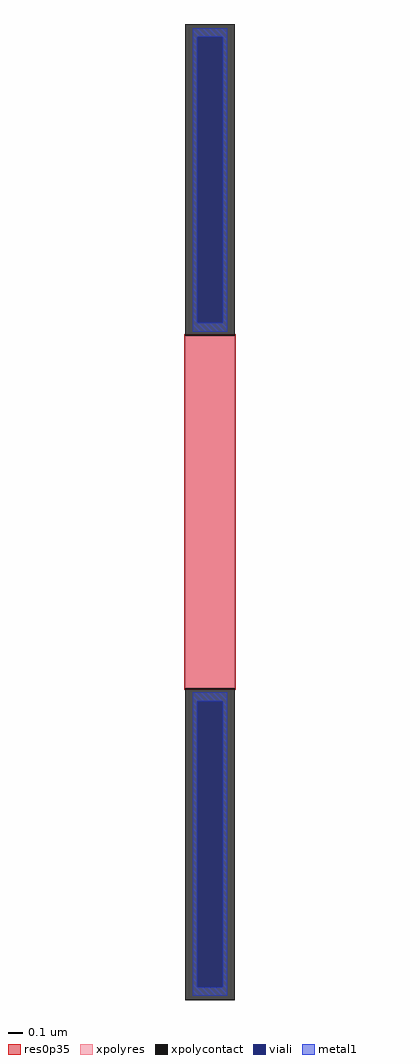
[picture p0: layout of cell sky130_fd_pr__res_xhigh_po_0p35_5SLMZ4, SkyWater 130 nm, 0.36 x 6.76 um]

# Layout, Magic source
magic
tech sky130A
<< xpolycontact >>
rect -17 122 17 338
rect -17 -338 17 -122
<< xpolyres >>
rect -17 -122 17 122
<< viali >>
rect -9 131 9 329
rect -9 -329 9 -131
<< metal1 >>
rect -12 329 12 335
rect -12 131 -9 329
rect 9 131 12 329
rect -12 125 12 131
rect -12 -131 12 -125
rect -12 -329 -9 -131
rect 9 -329 12 -131
rect -12 -335 12 -329
<< res0p35 >>
rect -18 -123 18 123
<< properties >>
string gencell sky130_fd_pr__res_xhigh_po_0p35
string parameters w 0.350 l 2.45 m 1 nx 1 wmin 0.350 lmin 0.50 rho 2000 val 14.109k dummy 0 dw 0.0 term 19.188 sterm 0.0 caplen 0 wmax 0.350 guard 0 glc 1 grc 1 gtc 1 gbc 1 compatible {sky130_fd_pr__res_xhigh_po_0p35  sky130_fd_pr__res_xhigh_po_0p69 sky130_fd_pr__res_xhigh_po_1p41  sky130_fd_pr__res_xhigh_po_2p85 sky130_fd_pr__res_xhigh_po_5p73} full_metal 1 n_guard 0 hv_guard 0 vias 1 viagb 0 viagt 0 viagl 0 viagr 0
string library sky130
<< end >>
